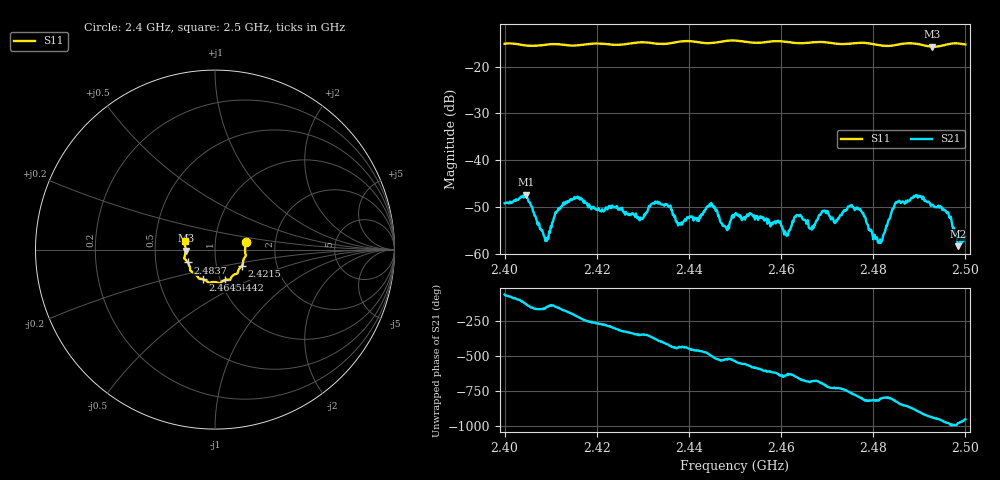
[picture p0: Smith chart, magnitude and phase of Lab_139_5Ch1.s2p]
# Hz S RI R 50
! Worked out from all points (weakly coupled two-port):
!   601 points, 2.4 GHz to 2.5 GHz, reference 50 ohm
!   highest |S21| = -47.42 dB at 2.4047 GHz (marker M1); lowest = -58.4 dB at 2.4983 GHz (marker M2)
!   lowest |S11| = -15.7 dB at 2.4928 GHz (marker M3), VSWR 1.39, Z = 35.9 - j0.38 ohm
!   |S11| at or under -10 dB: start of sweep to end of sweep
!   S12 and S22 are empty: the file has one direction only
!   S11 on the Smith chart (normalised r, x): 2.4 GHz: 1.41, +0.12; 2.4215 GHz: 1.33, -0.25; 2.4442 GHz: 1.05, -0.37; 2.4645 GHz: 0.83, -0.29; 2.4837 GHz: 0.73, -0.11; 2.5 GHz: 0.71, +0.07
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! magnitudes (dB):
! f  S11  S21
! 2.4 GHz  -15.1  -49.2
! 2.4047 GHz  -15.5  -47.4
! 2.409 GHz  -15.3  -56.7
! 2.4115 GHz  -15.2  -50.9
! 2.4167 GHz  -15.3  -48.4
! 2.4215 GHz  -15.1  -51.0
! 2.4297 GHz  -14.8  -52.6
! 2.4333 GHz  -15.1  -49.3
! 2.438 GHz  -14.6  -53.7
! 2.4442 GHz  -15.0  -50.0
! 2.4478 GHz  -14.5  -54.2
! 2.45 GHz  -14.4  -51.6
! 2.4612 GHz  -14.7  -56.2
! 2.4645 GHz  -15.0  -52.1
! 2.4667 GHz  -14.8  -54.9
! 2.4752 GHz  -15.0  -49.9
! 2.4815 GHz  -15.4  -57.0
! 2.4833 GHz  -15.6  -52.8
! 2.4837 GHz  -15.5  -52.3
! 2.4928 GHz  -15.7  -49.6
! 2.4983 GHz  -15.0  -58.4
! 2.5 GHz  -15.2  -56.4
